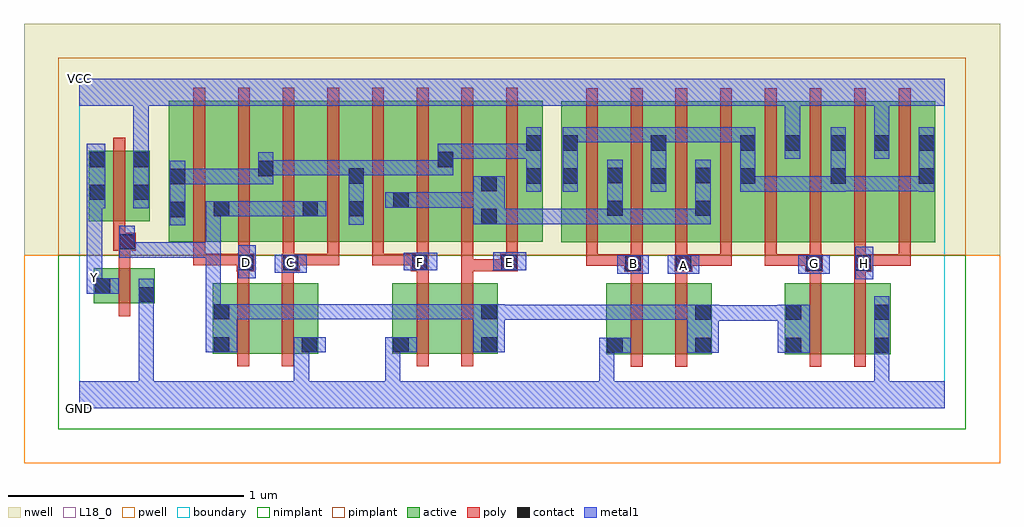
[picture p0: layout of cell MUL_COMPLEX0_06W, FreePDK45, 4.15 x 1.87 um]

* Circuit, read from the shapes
.subckt MUL_COMPLEX0_06W A B C D E F G GND H VCC Y
M1 GND n1 Y VSUBS nfet w=0.15u l=0.05u
M2 n2 D n1 VSUBS nfet w=0.3u l=0.05u
M3 GND C n2 VSUBS nfet w=0.3u l=0.05u
M4 n3 F GND VSUBS nfet w=0.3u l=0.05u
M5 n1 E n3 VSUBS nfet w=0.3u l=0.05u
M6 n4 B GND VSUBS nfet w=0.3u l=0.05u
M7 n1 A n4 VSUBS nfet w=0.3u l=0.05u
M8 n5 G n1 VSUBS nfet w=0.3u l=0.05u
M9 GND H n5 VSUBS nfet w=0.3u l=0.05u
M10 VCC n1 Y n6 pfet w=0.3u l=0.05u
M11 n1 D n7 n6 pfet w=0.6u l=0.05u m=2
M12 n1 C n7 n6 pfet w=0.6u l=0.05u m=2
M13 n8 F n7 n6 pfet w=0.6u l=0.05u m=2
M14 n8 E n7 n6 pfet w=0.6u l=0.05u m=2
M15 n8 B n9 n6 pfet w=0.6u l=0.05u m=2
M16 n8 A n9 n6 pfet w=0.6u l=0.05u m=2
M17 VCC G n9 n6 pfet w=0.6u l=0.05u m=2
M18 VCC H n9 n6 pfet w=0.6u l=0.05u m=2
.ends

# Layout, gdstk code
import gdstk
lib = gdstk.Library(unit=1e-6, precision=1e-09)
def R(c, l, rs):  # rectangles x0, y0, x1, y1
    for r in rs: c.add(gdstk.rectangle(r[:2], r[2:], *l))
def A(c, l, x, y, w, h, nx, ny, dx, dy):  # array of equal rectangles
    R(c, l, [(x+i*dx, y+j*dy, x+i*dx+w, y+j*dy+h) for i in range(nx) for j in range(ny)])
active = (1, 0)
pwell = (2, 0)
nwell = (3, 0)
nimplant = (4, 0)
pimplant = (5, 0)
poly = (9, 0)
contact = (10, 0)
metal1 = (11, 0)
L18_0 = (18, 0)
boundary = (235, 0)

mul_complex0_06w = lib.new_cell('MUL_COMPLEX0_06W')
A(mul_complex0_06w, active, 2.425, 0.705, 0.265, 0.6, 3, 1, 0.19, 0)
R(mul_complex0_06w, active, [(2.24,0.23,2.315,0.53), (2.24,0.23,2.465,0.53), (2.465,0.23,2.69,0.53), (2.615,0.23,2.69,0.53), (3,0.23,3.075,0.53), (3,0.23,3.225,0.53), (3.225,0.23,3.45,0.53), (3.375,0.23,3.45,0.53), (0.567,0.232,0.642,0.532), (0.567,0.232,0.792,0.532), (0.792,0.232,1.017,0.532), (0.942,0.232,1.017,0.532), (1.33,0.232,1.405,0.532), (1.33,0.232,1.555,0.532), (1.555,0.232,1.78,0.532), (1.705,0.232,1.78,0.532), (0.062,0.445,0.137,0.595), (0.062,0.445,0.322,0.595), (0.247,0.445,0.322,0.595), (2.05,0.705,2.125,1.2), (2.05,0.705,2.315,1.305), (2.24,0.705,2.5,1.305), (2.24,0.705,2.315,1.07), (2.425,0.705,2.5,1.2), (2.615,0.705,2.69,1.07), (2.805,0.705,2.88,1.2), (2.995,0.705,3.07,1.305), (2.995,0.705,3.265,1.305), (3.19,0.705,3.265,1.2), (3.19,0.705,3.45,1.305), (3.375,0.705,3.64,1.305), (3.375,0.705,3.45,1.305), (3.565,0.705,3.64,1.2), (0.38,0.707,0.455,1.2), (0.38,0.707,0.642,1.307), (0.567,0.707,0.642,1.07), (0.567,0.707,0.83,1.307), (0.755,0.707,1.02,1.307), (0.755,0.707,0.83,1.2), (0.945,0.707,1.215,1.307), (0.945,0.707,1.02,1.07), (1.14,0.707,1.405,1.307), (1.14,0.707,1.215,1.2), (1.33,0.707,1.595,1.307), (1.33,0.707,1.405,1.07), (1.52,0.707,1.78,1.307), (1.52,0.707,1.595,1.2), (1.705,0.707,1.97,1.307), (1.705,0.707,1.78,1.07), (1.895,0.707,1.97,1.2), (0.04,0.795,0.115,1.095), (0.04,0.795,0.3,1.095), (0.225,0.795,0.3,1.095)])
R(mul_complex0_06w, pwell, [(-0.235,-0.235,3.915,0.65)])
R(mul_complex0_06w, nwell, [(-0.235,0.65,3.915,1.635)])
R(mul_complex0_06w, nimplant, [(-0.09,-0.09,3.77,0.65)])
R(mul_complex0_06w, pimplant, [(-0.09,0.65,3.77,1.49)])
A(mul_complex0_06w, poly, 2.155, 0.605, 0.05, 0.095, 8, 1, 0.19, 0)
A(mul_complex0_06w, poly, 0.485, 0.607, 0.05, 0.095, 6, 1, 0.19, 0)
A(mul_complex0_06w, poly, 2.155, 0.65, 0.05, 0.71, 8, 1, 0.19, 0)
A(mul_complex0_06w, poly, 0.485, 0.652, 0.05, 0.71, 8, 1, 0.19, 0)
R(mul_complex0_06w, poly, [(2.345,0.175,2.395,0.585), (2.535,0.175,2.585,0.585), (3.105,0.175,3.155,0.585), (3.295,0.175,3.345,0.585), (0.672,0.177,0.722,0.587), (0.862,0.177,0.912,0.587), (1.435,0.177,1.485,0.587), (1.625,0.177,1.675,0.587), (0.167,0.39,0.217,0.65), (2.345,0.535,2.395,0.63), (2.535,0.535,2.585,0.63), (3.105,0.535,3.155,0.63), (3.295,0.535,3.345,0.63), (0.672,0.537,0.722,0.632), (0.862,0.537,0.912,0.632), (1.435,0.537,1.485,0.632), (1.625,0.537,1.675,0.632), (2.317,0.58,2.395,0.655), (2.532,0.58,2.607,0.655), (3.087,0.58,3.162,0.655), (3.295,0.58,3.37,0.655), (0.67,0.582,0.745,0.657), (0.862,0.582,0.937,0.657), (1.41,0.582,1.485,0.657), (1.625,0.582,1.675,0.632), (1.625,0.582,1.675,0.632), (1.625,0.582,1.675,0.632), (1.625,0.582,1.84,0.632), (1.625,0.582,1.675,0.702), (1.79,0.582,1.865,0.657), (0.167,0.6,0.217,0.72), (2.155,0.605,2.205,0.655), (2.155,0.605,2.367,0.655), (2.317,0.605,2.367,0.655), (2.317,0.605,2.367,0.655), (2.557,0.605,2.775,0.655), (2.725,0.605,2.775,0.655), (2.725,0.605,2.775,0.655), (2.725,0.605,2.775,0.655), (2.915,0.605,2.965,0.655), (2.915,0.605,2.965,0.655), (2.915,0.605,2.965,0.655), (2.915,0.605,3.137,0.655), (3.32,0.605,3.535,0.655), (3.485,0.605,3.535,0.655), (3.485,0.605,3.535,0.655), (3.485,0.605,3.535,0.655), (0.485,0.607,0.535,0.657), (0.485,0.607,0.72,0.657), (0.67,0.607,0.72,0.657), (0.67,0.607,0.72,0.657), (0.887,0.607,0.937,0.657), (0.887,0.607,0.937,0.657), (0.887,0.607,1.105,0.657), (1.055,0.607,1.105,0.657), (1.245,0.607,1.295,0.657), (1.245,0.607,1.295,0.657), (1.245,0.607,1.295,0.657), (1.245,0.607,1.46,0.657), (1.815,0.607,1.865,0.702), (0.145,0.67,0.24,0.745), (0.145,0.695,0.195,0.79), (0.145,0.74,0.195,1.15)])
R(mul_complex0_06w, contact, [(2.245,0.235,2.31,0.3), (2.62,0.235,2.685,0.3), (3.005,0.235,3.07,0.3), (3.38,0.235,3.445,0.3), (0.572,0.237,0.637,0.302), (0.947,0.237,1.012,0.302), (1.335,0.237,1.4,0.302), (1.71,0.237,1.775,0.302), (2.62,0.375,2.685,0.44), (3.005,0.375,3.07,0.44), (3.38,0.375,3.445,0.44), (0.572,0.377,0.637,0.442), (1.71,0.377,1.775,0.442), (0.252,0.45,0.317,0.515), (0.067,0.487,0.132,0.552), (2.322,0.585,2.387,0.65), (2.537,0.585,2.602,0.65), (3.092,0.585,3.157,0.65), (3.3,0.585,3.365,0.65), (0.675,0.587,0.74,0.652), (0.867,0.587,0.932,0.652), (1.415,0.587,1.48,0.652), (1.795,0.587,1.86,0.652), (0.17,0.675,0.235,0.74), (1.71,0.782,1.775,0.847), (0.385,0.812,0.45,0.877), (0.572,0.815,0.637,0.88), (0.95,0.815,1.015,0.88), (1.145,0.815,1.21,0.88), (2.245,0.817,2.31,0.882), (2.62,0.817,2.685,0.882), (1.335,0.852,1.4,0.917), (0.045,0.885,0.11,0.95), (0.23,0.885,0.295,0.95), (1.71,0.922,1.775,0.987), (0.385,0.952,0.45,1.017), (1.145,0.955,1.21,1.02), (1.9,0.955,1.965,1.02), (2.055,0.955,2.12,1.02), (2.43,0.955,2.495,1.02), (2.81,0.955,2.875,1.02), (3.195,0.955,3.26,1.02), (3.57,0.955,3.635,1.02), (2.245,0.957,2.31,1.022), (2.62,0.957,2.685,1.022), (0.76,0.987,0.825,1.052), (0.045,1.025,0.11,1.09), (0.23,1.025,0.295,1.09), (1.525,1.025,1.59,1.09), (1.9,1.095,1.965,1.16), (2.055,1.095,2.12,1.16), (2.43,1.095,2.495,1.16), (2.81,1.095,2.875,1.16), (3,1.095,3.065,1.16), (3.195,1.095,3.26,1.16), (3.38,1.095,3.445,1.16), (3.57,1.095,3.635,1.16)])
R(mul_complex0_06w, metal1, [(0,0,3.68,0.115), (0.252,0.05,0.317,0.115), (0.252,0.05,0.317,0.115), (0.252,0.05,0.317,0.48), (0.912,0.05,0.977,0.115), (0.912,0.05,0.977,0.115), (0.912,0.05,0.977,0.302), (1.3,0.05,1.365,0.115), (1.3,0.05,1.365,0.115), (1.3,0.05,1.365,0.302), (2.21,0.05,2.275,0.115), (2.21,0.05,2.275,0.115), (2.21,0.05,2.275,0.3), (3.38,0.05,3.445,0.115), (3.38,0.05,3.445,0.115), (3.38,0.05,3.445,0.115), (3.38,0.05,3.445,0.115), (3.38,0.05,3.445,0.265), (3.38,0.2,3.445,0.475), (2.21,0.235,2.275,0.3), (2.21,0.235,2.275,0.3), (2.21,0.235,2.345,0.3), (2.585,0.235,2.72,0.44), (2.97,0.235,3.105,0.44), (0.537,0.237,0.672,0.442), (0.912,0.237,0.977,0.302), (0.912,0.237,0.977,0.302), (0.912,0.237,1.047,0.302), (1.3,0.237,1.365,0.302), (1.3,0.237,1.365,0.302), (1.3,0.237,1.435,0.302), (1.675,0.237,1.81,0.442), (2.655,0.372,2.72,0.437), (2.655,0.372,2.72,0.437), (2.655,0.372,2.857,0.437), (2.792,0.372,2.857,0.437), (2.792,0.372,2.857,0.437), (2.792,0.372,2.857,0.437), (2.792,0.372,3.035,0.437), (1.745,0.375,1.81,0.44), (1.745,0.375,1.81,0.44), (1.745,0.375,1.982,0.44), (1.917,0.375,1.982,0.44), (1.917,0.375,2.12,0.44), (2.055,0.375,2.12,0.44), (2.055,0.375,2.12,0.44), (2.055,0.375,2.12,0.44), (2.055,0.375,2.257,0.44), (2.192,0.375,2.257,0.44), (2.192,0.375,2.257,0.44), (2.192,0.375,2.257,0.44), (2.192,0.375,2.495,0.44), (2.43,0.375,2.495,0.44), (2.43,0.375,2.495,0.44), (2.43,0.375,2.495,0.44), (2.43,0.375,2.65,0.44), (0.537,0.377,0.602,0.705), (0.607,0.377,0.672,0.442), (0.607,0.377,0.672,0.442), (0.607,0.377,0.84,0.442), (0.775,0.377,0.84,0.442), (0.775,0.377,0.84,0.442), (0.775,0.377,0.84,0.442), (0.775,0.377,1.072,0.442), (1.007,0.377,1.072,0.442), (1.007,0.377,1.072,0.442), (1.007,0.377,1.072,0.442), (1.007,0.377,1.21,0.442), (1.145,0.377,1.21,0.442), (1.145,0.377,1.21,0.442), (1.145,0.377,1.21,0.442), (1.145,0.377,1.435,0.442), (1.37,0.377,1.435,0.442), (1.37,0.377,1.435,0.442), (1.37,0.377,1.435,0.442), (1.37,0.377,1.59,0.442), (1.525,0.377,1.59,0.442), (1.525,0.377,1.59,0.442), (1.525,0.377,1.59,0.442), (1.525,0.377,1.74,0.442), (0.252,0.415,0.317,0.48), (0.252,0.415,0.317,0.48), (0.252,0.415,0.317,0.48), (0.252,0.415,0.317,0.48), (0.252,0.415,0.317,0.55), (0.032,0.487,0.097,0.552), (0.032,0.487,0.097,0.622), (0.032,0.487,0.167,0.552), (3.3,0.547,3.375,0.687), (0.675,0.552,0.75,0.692), (0.032,0.557,0.097,0.915), (2.287,0.572,2.422,0.65), (2.502,0.572,2.637,0.65), (3.057,0.572,3.192,0.65), (0.832,0.575,0.967,0.652), (1.38,0.587,1.522,0.66), (1.76,0.587,1.9,0.662), (0.17,0.64,0.235,0.705), (0.17,0.64,0.235,0.705), (0.17,0.64,0.235,0.775), (0.17,0.64,0.45,0.705), (0.385,0.64,0.45,0.705), (0.385,0.64,0.45,0.705), (0.385,0.64,0.45,0.705), (0.385,0.64,0.602,0.705), (0.537,0.64,0.602,0.705), (0.537,0.64,0.602,0.88), (0.385,0.777,0.45,1.052), (1.145,0.78,1.21,1.055), (1.675,0.782,1.81,0.987), (1.745,0.782,1.81,0.847), (1.745,0.782,1.81,0.847), (1.745,0.782,1.947,0.847), (1.882,0.782,1.947,0.847), (1.882,0.782,2.12,0.847), (2.055,0.782,2.12,0.847), (2.055,0.782,2.12,0.847), (2.055,0.782,2.12,0.847), (2.055,0.782,2.31,0.847), (2.245,0.782,2.31,0.847), (2.245,0.782,2.31,0.847), (2.245,0.782,2.31,1.057), (2.245,0.782,2.495,0.847), (2.43,0.782,2.495,0.847), (2.43,0.782,2.495,0.847), (2.43,0.782,2.495,0.847), (2.43,0.782,2.685,0.847), (2.62,0.782,2.685,1.057), (0.537,0.815,0.672,0.88), (0.607,0.815,0.672,0.88), (0.607,0.815,0.672,0.88), (0.607,0.815,0.81,0.88), (0.745,0.815,0.81,0.88), (0.745,0.815,0.81,0.88), (0.745,0.815,0.81,0.88), (0.745,0.815,0.98,0.88), (0.915,0.815,1.05,0.88), (0.032,0.85,0.11,1.125), (0.23,0.85,0.295,1.125), (1.3,0.852,1.435,0.917), (1.37,0.852,1.435,0.917), (1.37,0.852,1.435,0.917), (1.37,0.852,1.572,0.917), (1.507,0.852,1.572,0.917), (1.507,0.852,1.572,0.917), (1.507,0.852,1.572,0.917), (1.507,0.852,1.74,0.917), (1.9,0.92,1.965,1.195), (2.055,0.92,2.12,1.195), (2.43,0.92,2.495,1.195), (2.81,0.92,2.875,0.985), (2.81,0.92,2.875,0.985), (2.81,0.92,2.875,0.985), (2.81,0.92,2.875,0.985), (2.81,0.92,2.875,1.195), (2.81,0.92,3.122,0.985), (3.057,0.92,3.122,0.985), (3.057,0.92,3.122,0.985), (3.057,0.92,3.122,0.985), (3.057,0.92,3.26,0.985), (3.195,0.92,3.26,1.195), (3.57,0.92,3.635,1.195), (3.195,0.922,3.26,0.987), (3.195,0.922,3.26,0.987), (3.195,0.922,3.397,0.987), (3.332,0.922,3.397,0.987), (3.332,0.922,3.635,0.987), (3.57,0.922,3.635,0.987), (3.57,0.922,3.635,0.987), (0.385,0.952,0.45,1.017), (0.385,0.952,0.45,1.017), (0.385,0.952,0.587,1.017), (0.522,0.952,0.587,1.017), (0.522,0.952,0.587,1.017), (0.522,0.952,0.587,1.017), (0.522,0.952,0.825,1.017), (0.76,0.952,0.825,1.087), (0.76,0.99,0.825,1.055), (0.76,0.99,0.825,1.055), (0.76,0.99,1.072,1.055), (1.007,0.99,1.072,1.055), (1.007,0.99,1.072,1.055), (1.007,0.99,1.072,1.055), (1.007,0.99,1.21,1.055), (1.145,0.99,1.21,1.055), (1.145,0.99,1.21,1.055), (1.145,0.99,1.347,1.055), (1.282,0.99,1.347,1.055), (1.282,0.99,1.347,1.055), (1.282,0.99,1.347,1.055), (1.282,0.99,1.59,1.055), (1.525,0.99,1.59,1.125), (0.23,1.06,0.295,1.35), (1.525,1.06,1.59,1.125), (1.525,1.06,1.59,1.125), (1.525,1.06,1.727,1.125), (1.662,1.06,1.727,1.125), (1.662,1.06,1.965,1.125), (1.9,1.06,1.965,1.125), (1.9,1.06,1.965,1.125), (3,1.06,3.065,1.195), (3.38,1.06,3.445,1.195), (2.055,1.13,2.12,1.195), (2.055,1.13,2.12,1.195), (2.055,1.13,2.357,1.195), (2.292,1.13,2.357,1.195), (2.292,1.13,2.357,1.195), (2.292,1.13,2.357,1.195), (2.292,1.13,2.495,1.195), (2.43,1.13,2.495,1.195), (2.43,1.13,2.495,1.195), (2.43,1.13,2.632,1.195), (2.567,1.13,2.632,1.195), (2.567,1.13,2.632,1.195), (2.567,1.13,2.632,1.195), (2.567,1.13,2.875,1.195), (3,1.13,3.065,1.35), (3.38,1.13,3.445,1.35), (0,1.285,3.68,1.4), (0.23,1.285,0.295,1.35), (0.23,1.285,0.295,1.35), (0.23,1.285,0.295,1.35), (0.23,1.285,0.295,1.35)])
R(mul_complex0_06w, L18_0, [(0,0,3.68,0.115), (0.252,0.05,0.317,0.115), (0.252,0.05,0.317,0.115), (0.252,0.05,0.317,0.48), (0.912,0.05,0.977,0.115), (0.912,0.05,0.977,0.115), (0.912,0.05,0.977,0.302), (1.3,0.05,1.365,0.115), (1.3,0.05,1.365,0.115), (1.3,0.05,1.365,0.302), (2.21,0.05,2.275,0.115), (2.21,0.05,2.275,0.115), (2.21,0.05,2.275,0.3), (3.38,0.05,3.445,0.115), (3.38,0.05,3.445,0.115), (3.38,0.05,3.445,0.115), (3.38,0.05,3.445,0.115), (3.38,0.05,3.445,0.265), (3.38,0.2,3.445,0.475), (2.21,0.235,2.345,0.3), (2.21,0.235,2.275,0.3), (2.21,0.235,2.275,0.3), (0.912,0.237,1.047,0.302), (0.912,0.237,0.977,0.302), (0.912,0.237,0.977,0.302), (1.3,0.237,1.435,0.302), (1.3,0.237,1.365,0.302), (1.3,0.237,1.365,0.302), (0.252,0.415,0.317,0.55), (0.252,0.415,0.317,0.48), (0.252,0.415,0.317,0.48), (0.252,0.415,0.317,0.48), (0.252,0.415,0.317,0.48), (0.032,0.487,0.167,0.552), (0.032,0.487,0.097,0.622), (0.032,0.487,0.097,0.552), (0.032,0.522,0.097,0.587), (3.3,0.547,3.375,0.687), (0.675,0.552,0.75,0.692), (0.032,0.557,0.097,0.915), (2.287,0.572,2.422,0.65), (2.502,0.572,2.637,0.65), (2.537,0.572,2.602,0.637), (3.057,0.572,3.192,0.65), (0.832,0.575,0.967,0.652), (2.322,0.582,2.387,0.647), (3.092,0.582,3.157,0.647), (3.307,0.582,3.372,0.647), (0.677,0.587,0.742,0.652), (0.867,0.587,0.932,0.652), (1.38,0.587,1.522,0.66), (1.417,0.587,1.482,0.652), (1.76,0.587,1.9,0.662), (1.797,0.587,1.862,0.652), (0.032,0.85,0.11,1.125), (0.23,0.85,0.295,1.125), (0.23,1.06,0.295,1.35), (3,1.06,3.065,1.195), (3.38,1.06,3.445,1.195), (3,1.13,3.065,1.35), (3.38,1.13,3.445,1.35), (0,1.285,3.68,1.4), (0.23,1.285,0.295,1.35), (0.23,1.285,0.295,1.35), (0.23,1.285,0.295,1.35), (0.23,1.285,0.295,1.35)])
R(mul_complex0_06w, boundary, [(0,0,3.68,1.4)])
mul_complex0_06w.add(gdstk.Label('A', (2.57,0.605), layer=11, texttype=0))
mul_complex0_06w.add(gdstk.Label('B', (2.355,0.615), layer=11, texttype=0))
mul_complex0_06w.add(gdstk.Label('C', (0.9,0.62), layer=11, texttype=0))
mul_complex0_06w.add(gdstk.Label('D', (0.71,0.62), layer=11, texttype=0))
mul_complex0_06w.add(gdstk.Label('E', (1.83,0.62), layer=11, texttype=0))
mul_complex0_06w.add(gdstk.Label('F', (1.45,0.62), layer=11, texttype=0))
mul_complex0_06w.add(gdstk.Label('G', (3.125,0.615), layer=11, texttype=0))
mul_complex0_06w.add(gdstk.Label('H', (3.34,0.615), layer=11, texttype=0))
mul_complex0_06w.add(gdstk.Label('Y', (0.065,0.555), layer=11, texttype=0))
mul_complex0_06w.add(gdstk.Label('VCC', (0,1.4), layer=11, texttype=0))
mul_complex0_06w.add(gdstk.Label('GND', (0,0), layer=11, texttype=0))

lib.write_gds('MUL_COMPLEX0_06W.gds')
